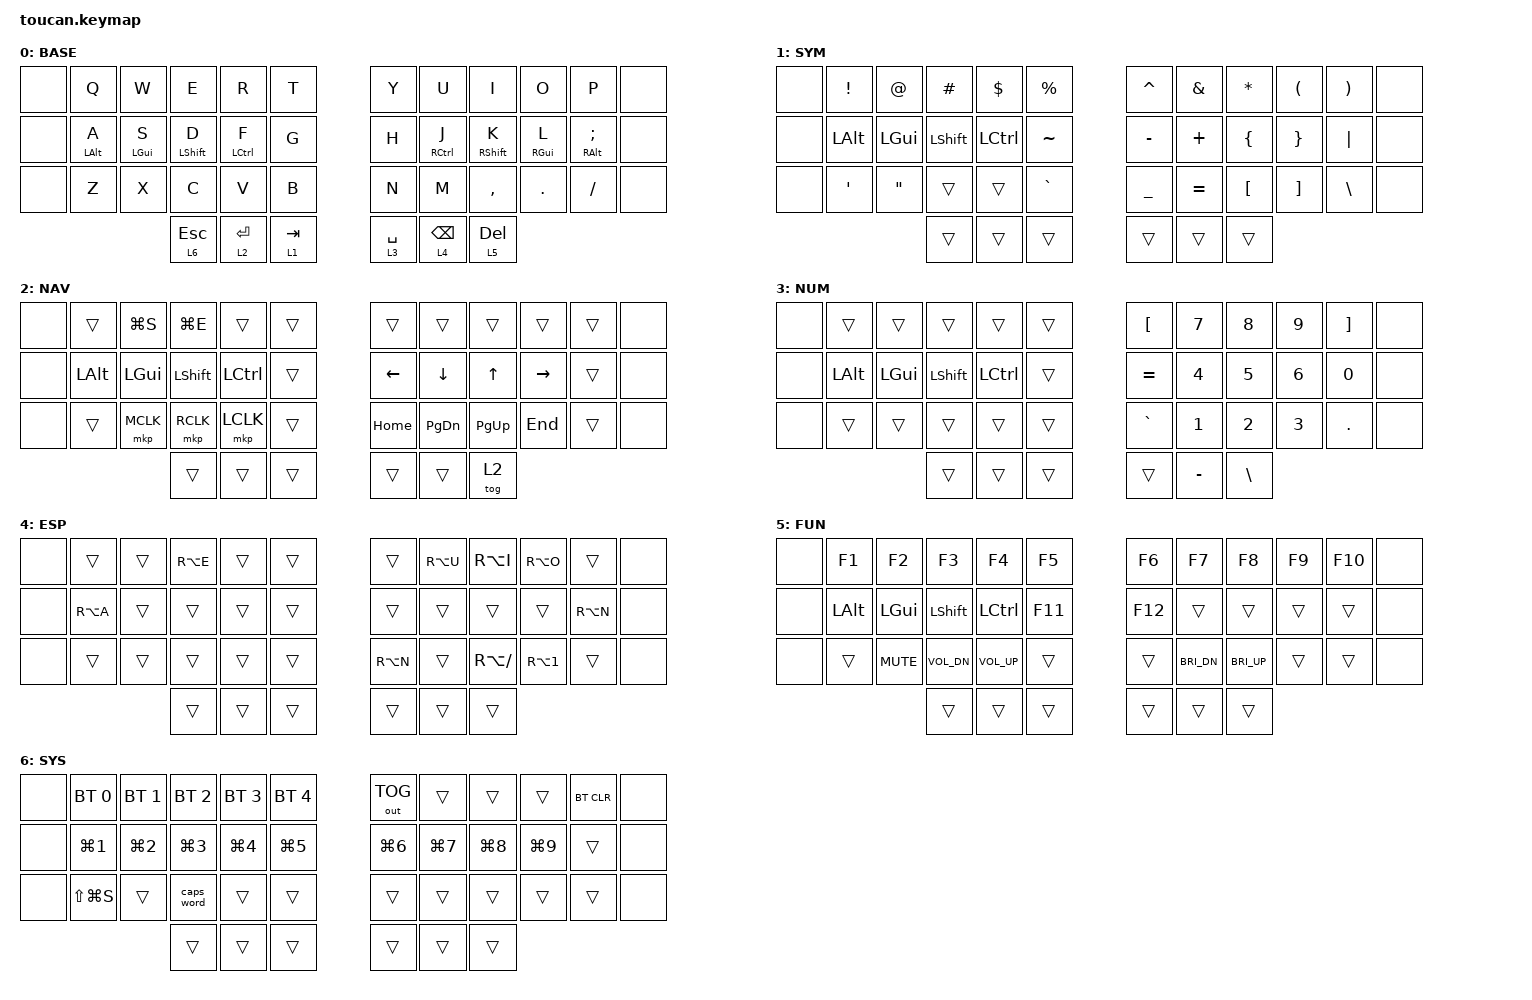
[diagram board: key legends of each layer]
/*
 * beekeeb Toucan 36 - ZMK keymap
 *
 * Layers:  0 BASE | 1 SYM | 2 NAV | 3 NUM | 4 ESP (AltGr accents) | 5 FUN | 6 SYS
 * Thumbs (L->R):  [ESC/L6] [ENT/L2] [TAB/L1]   [SPC/L3] [BSPC/L4] [DEL/L5]
 */

#include <behaviors.dtsi>
#include <dt-bindings/zmk/keys.h>
#include <dt-bindings/zmk/bt.h>
#include <dt-bindings/zmk/outputs.h>
#include <dt-bindings/zmk/pointing.h>

#define BASE 0
#define SYM  1
#define NAV  2
#define NUM  3
#define ESP  4
#define FUN  5
#define SYS  6

/ {
    behaviors {
        hml: home_row_mod_left {
            compatible = "zmk,behavior-hold-tap";
            #binding-cells = <2>;
            flavor = "balanced";
            tapping-term-ms = <200>;
            quick-tap-ms = <175>;
            require-prior-idle-ms = <125>;
            bindings = <&kp>, <&kp>;
            hold-trigger-key-positions = <6 7 8 9 10 11 18 19 20 21 22 23 30 31 32 33 34 35 36 37 38 39 40 41>;
            hold-trigger-on-release;
        };
        hmr: home_row_mod_right {
            compatible = "zmk,behavior-hold-tap";
            #binding-cells = <2>;
            flavor = "balanced";
            tapping-term-ms = <200>;
            quick-tap-ms = <175>;
            require-prior-idle-ms = <125>;
            bindings = <&kp>, <&kp>;
            hold-trigger-key-positions = <0 1 2 3 4 5 12 13 14 15 16 17 24 25 26 27 28 29 36 37 38 39 40 41>;
            hold-trigger-on-release;
        };
    };

    keymap {
        compatible = "zmk,keymap";

        base {
            display-name = "BASE";
            bindings = <
                &none &kp Q &kp W &kp E &kp R &kp T &kp Y &kp U &kp I &kp O &kp P &none
                &none &hml LALT A &hml LGUI S &hml LSHFT D &hml LCTRL F &kp G &kp H &hmr RCTRL J &hmr RSHFT K &hmr RGUI L &hmr RALT SEMI &none
                &none &kp Z &kp X &kp C &kp V &kp B &kp N &kp M &kp COMMA &kp DOT &kp FSLH &none
                                    &lt 6 ESC &lt 2 RET &lt 1 TAB   &lt 3 SPACE &lt 4 BSPC &lt 5 DEL
            >;
        };

        sym {
            display-name = "SYM";
            bindings = <
                &none &kp EXCL &kp AT &kp HASH &kp DLLR &kp PRCNT &kp CARET &kp AMPS &kp ASTRK &kp LPAR &kp RPAR &none
                &none &kp LALT &kp LGUI &kp LSHFT &kp LCTRL &kp TILDE &kp MINUS &kp PLUS &kp LBRC &kp RBRC &kp PIPE &none
                &none &kp SQT &kp DQT &trans &trans &kp GRAVE &kp UNDER &kp EQUAL &kp LBKT &kp RBKT &kp BSLH &none
                                    &trans &trans &trans   &trans &trans &trans
            >;
        };

        nav {
            display-name = "NAV";
            bindings = <
                &none &trans &kp LG(S) &kp LG(E) &trans &trans &trans &trans &trans &trans &trans &none
                &none &kp LALT &kp LGUI &kp LSHFT &kp LCTRL &trans &kp LEFT &kp DOWN &kp UP &kp RIGHT &trans &none
                &none &trans &mkp MCLK &mkp RCLK &mkp LCLK &trans &kp HOME &kp PG_DN &kp PG_UP &kp END &trans &none
                                    &trans &trans &trans   &trans &trans &tog 2
            >;
        };

        num {
            display-name = "NUM";
            bindings = <
                &none &trans &trans &trans &trans &trans &kp LBKT &kp N7 &kp N8 &kp N9 &kp RBKT &none
                &none &kp LALT &kp LGUI &kp LSHFT &kp LCTRL &trans &kp EQUAL &kp N4 &kp N5 &kp N6 &kp N0 &none
                &none &trans &trans &trans &trans &trans &kp GRAVE &kp N1 &kp N2 &kp N3 &kp DOT &none
                                    &trans &trans &trans   &trans &kp MINUS &kp BSLH
            >;
        };

        esp {
            display-name = "ESP";
            bindings = <
                &none &trans &trans &kp RA(E) &trans &trans &trans &kp RA(U) &kp RA(I) &kp RA(O) &trans &none
                &none &kp RA(A) &trans &trans &trans &trans &trans &trans &trans &trans &kp RA(N) &none
                &none &trans &trans &trans &trans &trans &kp RA(N) &trans &kp RA(FSLH) &kp RA(N1) &trans &none
                                    &trans &trans &trans   &trans &trans &trans
            >;
        };

        fun {
            display-name = "FUN";
            bindings = <
                &none &kp F1 &kp F2 &kp F3 &kp F4 &kp F5 &kp F6 &kp F7 &kp F8 &kp F9 &kp F10 &none
                &none &kp LALT &kp LGUI &kp LSHFT &kp LCTRL &kp F11 &kp F12 &trans &trans &trans &trans &none
                &none &trans &kp C_MUTE &kp C_VOL_DN &kp C_VOL_UP &trans &trans &kp C_BRI_DN &kp C_BRI_UP &trans &trans &none
                                    &trans &trans &trans   &trans &trans &trans
            >;
        };

        sys {
            display-name = "SYS";
            bindings = <
                &none &bt BT_SEL 0 &bt BT_SEL 1 &bt BT_SEL 2 &bt BT_SEL 3 &bt BT_SEL 4 &out OUT_TOG &trans &trans &trans &bt BT_CLR &none
                &none &kp LG(N1) &kp LG(N2) &kp LG(N3) &kp LG(N4) &kp LG(N5) &kp LG(N6) &kp LG(N7) &kp LG(N8) &kp LG(N9) &trans &none
                &none &kp LS(LG(S)) &trans &caps_word &trans &trans &trans &trans &trans &trans &trans &none
                                    &trans &trans &trans   &trans &trans &trans
            >;
        };
    };
};
